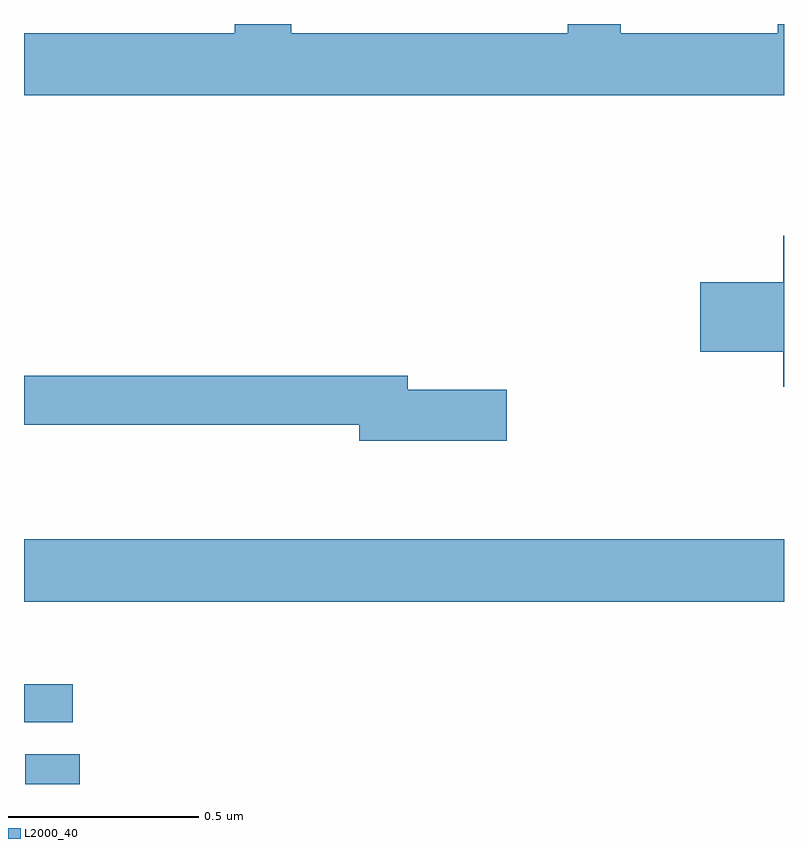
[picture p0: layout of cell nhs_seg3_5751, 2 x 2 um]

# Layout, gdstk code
import gdstk
lib = gdstk.Library(unit=1e-6, precision=1e-09)
def R(c, l, rs):  # rectangles x0, y0, x1, y1
    for r in rs: c.add(gdstk.rectangle(r[:2], r[2:], *l))
def P(c, l, *ps):  # polygons
    for p in ps: c.add(gdstk.Polygon(p, *l))
L2000_40 = (2000, 40)

nhs_seg3_5751 = lib.new_cell('nhs_seg3_5751')
R(nhs_seg3_5751, L2000_40, [(182.003,736.4,182.147,736.478), (182,736.563,182.128,736.662), (182,736.88,184,737.044)])
P(nhs_seg3_5751, L2000_40, [(184,738.4),(183.983,738.4),(183.983,738.376),(183.571,738.376),(183.571,738.4),(183.431,738.4),(183.431,738.376),(182.703,738.376),(182.703,738.4),(182.555,738.4),(182.555,738.376),(182,738.376),(182,738.212),(184,738.212)],
  [(184,737.843),(183.998,737.843),(183.998,737.72),(183.78,737.72),(183.78,737.537),(183.998,737.537),(183.998,737.446),(184,737.446)],
  [(183.271,737.438),(183.01,737.438),(183.01,737.474),(182,737.474),(182,737.346),(182.882,737.346),(182.882,737.303),(183.271,737.303)])

lib.write_gds('nhs_seg3_5751.gds')
